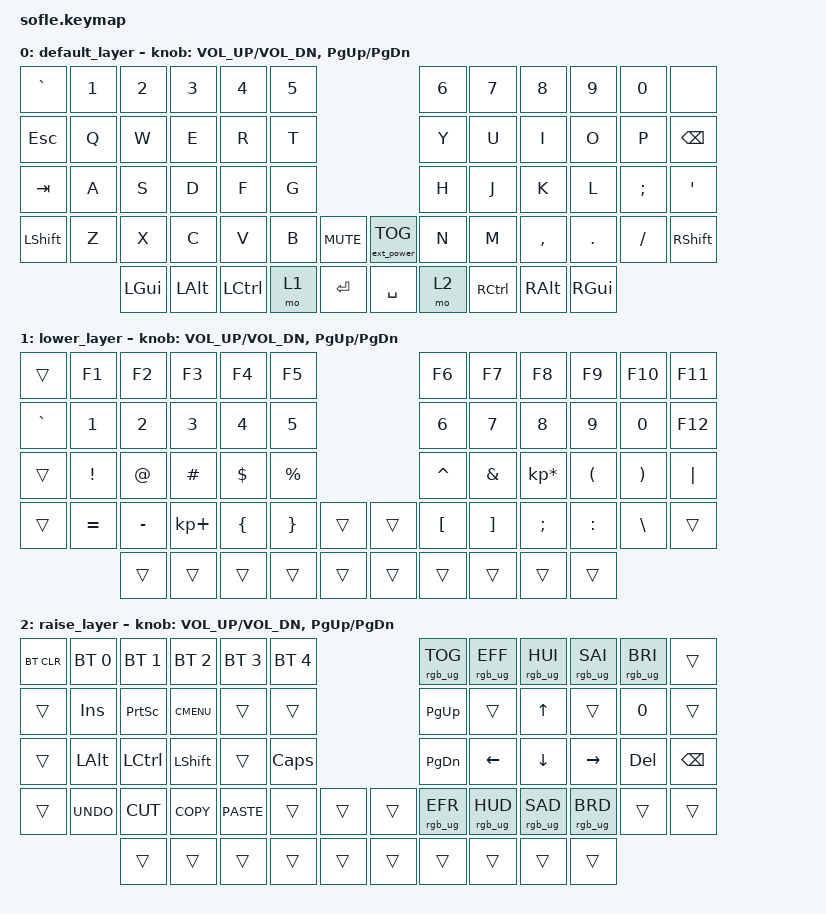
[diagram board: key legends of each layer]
#include <behaviors.dtsi>
#include <dt-bindings/zmk/keys.h>
#include <dt-bindings/zmk/bt.h>
#include <dt-bindings/zmk/ext_power.h>
#include <dt-bindings/zmk/rgb.h>

/ {
    keymap {
        compatible = "zmk,keymap";

        default_layer {
// ┌────────┬─────┬─────┬──────┬──────┬──────┐                         ┌──────┬──────┬──────┬──────┬───────┬───────┐
// │   `    │  1  │  2  │  3   │  4   │  5   │                         │  6   │  7   │  8   │  9   │   0   │       │
// │  ESC   │  Q  │  W  │  E   │  R   │  T   │                         │  Y   │  U   │  I   │  O   │   P   │ BKSPC │
// │  TAB   │  A  │  S  │  D   │  F   │  G   │                         │  H   │  J   │  K   │  L   │   ;   │   '   │
// │ SHIFT  │  Z  │  X  │  C   │  V   │  B   │  MUTE  │      │  ExtPw  │  N   │  M   │  ,   │  .   │   /   │ SHIFT │
//          │ GUI │ ALT │ CTRL │LOWER │ ENTER│                │  SPACE  │RAISE │ CTRL │ ALT  │ GUI  │
            bindings = <
&kp GRAVE &kp N1 &kp N2   &kp N3   &kp N4    &kp N5                              &kp N6 &kp N7    &kp N8    &kp N9   &kp N0   &none
&kp ESC   &kp Q  &kp W    &kp E    &kp R     &kp T                               &kp Y  &kp U     &kp I     &kp O    &kp P    &kp BSPC
&kp TAB   &kp A  &kp S    &kp D    &kp F     &kp G                               &kp H  &kp J     &kp K     &kp L    &kp SEMI &kp SQT
&kp LSHFT &kp Z  &kp X    &kp C    &kp V     &kp B  &kp C_MUTE &ext_power EP_TOG &kp N  &kp M     &kp COMMA &kp DOT  &kp FSLH &kp RSHFT
                 &kp LGUI &kp LALT &kp LCTRL &mo 1  &kp RET    &kp SPACE         &mo 2  &kp RCTRL &kp RALT  &kp RGUI
            >;

            sensor-bindings = <&inc_dec_kp C_VOL_UP C_VOL_DN &inc_dec_kp PG_UP PG_DN>;
        };

        lower_layer {
// ┌────────┬──────┬──────┬──────┬──────┬──────┐                   ┌──────┬───────┬────────┬──────┬───────┬───────┐
// │        │  F1  │  F2  │  F3  │  F4  │  F5  │                   │  F6  │  F7   │  F8    │  F9  │  F10  │  F11  │
// │  `     │   1  │   2  │   3  │   4  │   5  │                   │   6  │   7   │   8    │   9  │   0   │  F12  │
// │        │  !   │  @   │  #   │  $   │  %   │                   │  ^   │  &    │  *     │  (   │   )   │   |   │
// │        │  =   │  -   │  +   │  {   │  }   │        │  │       │  [   │  ]    │  ;     │  :   │   \   │       │
//          │      │      │      │      │      │                   │      │       │        │      │
            bindings = <
&trans    &kp F1    &kp F2    &kp F3      &kp F4    &kp F5                    &kp F6    &kp F7   &kp F8          &kp F9    &kp F10   &kp F11
&kp GRAVE &kp N1    &kp N2    &kp N3      &kp N4    &kp N5                    &kp N6    &kp N7   &kp N8          &kp N9    &kp N0    &kp F12
&trans    &kp EXCL  &kp AT    &kp HASH    &kp DLLR  &kp PRCNT                 &kp CARET &kp AMPS &kp KP_MULTIPLY &kp LPAR  &kp RPAR  &kp PIPE
&trans    &kp EQUAL &kp MINUS &kp KP_PLUS &kp LBRC  &kp RBRC  &trans   &trans &kp LBKT  &kp RBKT &kp SEMI        &kp COLON &kp BSLH  &trans
                    &trans    &trans      &trans    &trans    &trans   &trans &trans    &trans   &trans          &trans
            >;

            sensor-bindings = <&inc_dec_kp C_VOL_UP C_VOL_DN &inc_dec_kp PG_UP PG_DN>;
        };

        raise_layer {
// ┌────────┬──────┬──────┬───────┬───────┬──────┐                ┌───────────┬──────────┬──────────┬──────────┬───────┬───────┐
// │ BT CLR │  BT1 │  BT2 │  BT3  │  BT4  │  BT5 │                │ RGB_TOG   │ RGB_EFF+ │ RGB_HUI  │ RGB_SAI  │RGB_BRI│       │
// │        │  INS │ PSCR │  GUI  │       │      │                │  PG UP    │          │    ↑     │          │       │       │
// │        │  ALT │ CTRL │ SHIFT │       │ CAPS │                │  PG DN    │    ←     │    ↓     │    →     │  DEL  │ BKSPC │
// │        │ UNDO │  CUT │  COPY │ PASTE │      │        │       │           │          │          │          │       │       │
//          │      │      │       │       │      │                │           │          │          │          │
//
// RGB row (top):  TOG | next effect | hue up | sat up | bright up
// To go the other direction, hold shift (or add a 4th layer – see comment below).
            bindings = <
&bt BT_CLR &bt BT_SEL 0 &bt BT_SEL 1 &bt BT_SEL 2 &bt BT_SEL 3 &bt BT_SEL 4             &rgb_ug RGB_TOG &rgb_ug RGB_EFF &rgb_ug RGB_HUI &rgb_ug RGB_SAI &rgb_ug RGB_BRI &trans
&trans     &kp INS      &kp PSCRN    &kp K_CMENU  &trans       &trans                   &kp PG_UP      &trans         &kp UP         &trans         &kp N0         &trans
&trans     &kp LALT     &kp LCTRL    &kp LSHFT    &trans       &kp CLCK                 &kp PG_DN      &kp LEFT       &kp DOWN       &kp RIGHT      &kp DEL        &kp BSPC
&trans     &kp K_UNDO   &kp K_CUT    &kp K_COPY   &kp K_PASTE  &trans  &trans   &trans  &rgb_ug RGB_EFR &rgb_ug RGB_HUD &rgb_ug RGB_SAD &rgb_ug RGB_BRD &trans        &trans
                        &trans       &trans       &trans       &trans  &trans   &trans  &trans         &trans         &trans         &trans
            >;

            sensor-bindings = <&inc_dec_kp C_VOL_UP C_VOL_DN &inc_dec_kp PG_UP PG_DN>;
        };
    };
};
